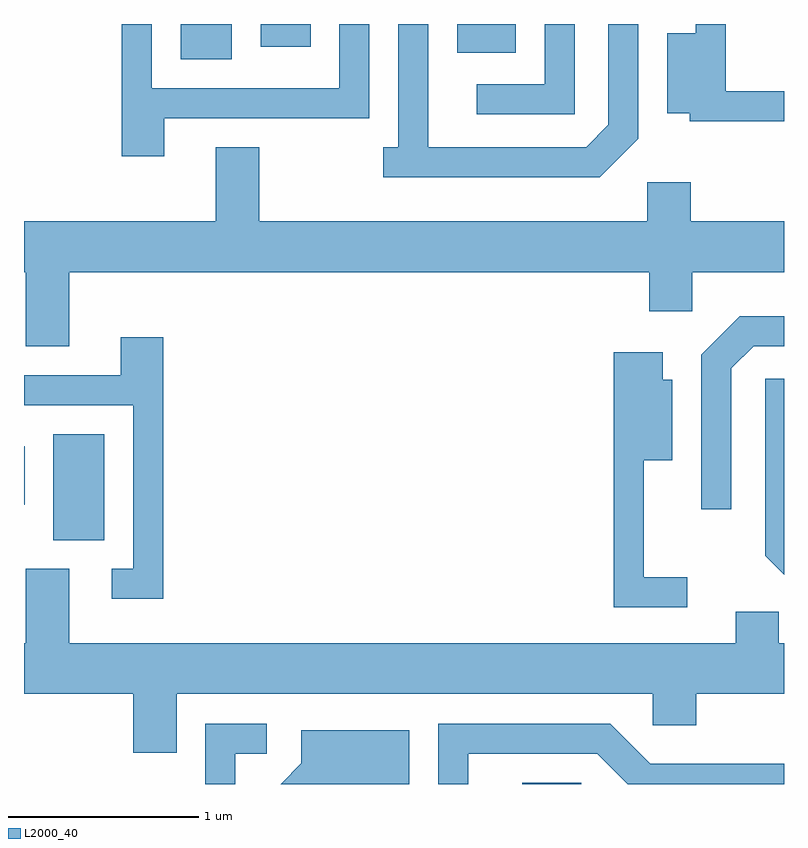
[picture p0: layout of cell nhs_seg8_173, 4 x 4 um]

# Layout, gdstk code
import gdstk
lib = gdstk.Library(unit=1e-6, precision=1e-09)
def R(c, l, rs):  # rectangles x0, y0, x1, y1
    for r in rs: c.add(gdstk.rectangle(r[:2], r[2:], *l))
def P(c, l, *ps):  # polygons
    for p in ps: c.add(gdstk.Polygon(p, *l))
L2000_40 = (2000, 40)

nhs_seg8_173 = lib.new_cell('nhs_seg8_173')
R(nhs_seg8_173, L2000_40, [(192.233,1880.342,192.544,1880.349), (189.766,1881.626,190.034,1882.184), (189.611,1881.811,189.614,1882.119), (190.436,1884.156,190.704,1884.342), (191.891,1884.191,192.199,1884.342), (190.856,1884.221,191.119,1884.342)])
P(nhs_seg8_173, L2000_40, [(193.611,1883.989),(193.304,1883.989),(193.304,1884.342),(193.146,1884.342),(193.146,1884.294),(192.996,1884.294),(192.996,1883.871),(193.116,1883.871),(193.116,1883.831),(193.611,1883.831)],
  [(192.509,1884.342),(192.351,1884.342),(192.351,1884.024),(191.993,1884.024),(191.993,1883.866),(192.509,1883.866)],
  [(190.349,1883.846),(191.429,1883.846),(191.429,1884.342),(191.271,1884.342),(191.271,1884.004),(190.284,1884.004),(190.284,1884.342),(190.126,1884.342),(190.126,1883.646),(190.349,1883.646)],
  [(192.844,1883.739),(192.844,1884.342),(192.686,1884.342),(192.686,1883.812),(192.569,1883.694),(191.739,1883.694),(191.739,1884.342),(191.581,1884.342),(191.581,1883.694),(191.503,1883.694),(191.503,1883.536),(192.642,1883.536)],
  [(189.849,1883.036),(192.901,1883.036),(192.901,1882.831),(193.129,1882.831),(193.129,1883.036),(193.611,1883.036),(193.611,1883.304),(193.119,1883.304),(193.119,1883.509),(192.891,1883.509),(192.891,1883.304),(190.849,1883.304),(190.849,1883.694),(190.621,1883.694),(190.621,1883.304),(189.611,1883.304),(189.611,1883.036),(189.621,1883.036),(189.621,1882.646),(189.849,1882.646)],
  [(193.334,1882.529),(193.452,1882.646),(193.611,1882.646),(193.611,1882.804),(193.379,1882.804),(193.176,1882.602),(193.176,1881.788),(193.334,1881.788)],
  [(190.344,1882.694),(190.121,1882.694),(190.121,1882.494),(189.611,1882.494),(189.611,1882.336),(190.186,1882.336),(190.186,1881.474),(190.073,1881.474),(190.073,1881.316),(190.344,1881.316)],
  [(193.103,1881.429),(192.874,1881.429),(192.874,1882.046),(193.024,1882.046),(193.024,1882.469),(192.974,1882.469),(192.974,1882.614),(192.716,1882.614),(192.716,1881.271),(193.103,1881.271)],
  [(193.611,1882.474),(193.511,1882.474),(193.511,1881.544),(193.611,1881.444)],
  [(190.414,1880.816),(192.921,1880.816),(192.921,1880.651),(193.149,1880.651),(193.149,1880.816),(193.611,1880.816),(193.611,1881.084),(193.584,1881.084),(193.584,1881.249),(193.356,1881.249),(193.356,1881.084),(189.849,1881.084),(189.849,1881.474),(189.621,1881.474),(189.621,1881.084),(189.611,1881.084),(189.611,1880.816),(190.186,1880.816),(190.186,1880.506),(190.414,1880.506)],
  [(191.949,1880.501),(192.629,1880.501),(192.788,1880.342),(193.611,1880.342),(193.611,1880.449),(192.907,1880.449),(192.697,1880.659),(191.791,1880.659),(191.791,1880.342),(191.949,1880.342)],
  [(190.724,1880.501),(190.888,1880.501),(190.888,1880.659),(190.566,1880.659),(190.566,1880.342),(190.724,1880.342)],
  [(191.639,1880.624),(191.071,1880.624),(191.071,1880.452),(190.961,1880.342),(191.639,1880.342)])

lib.write_gds('nhs_seg8_173.gds')
